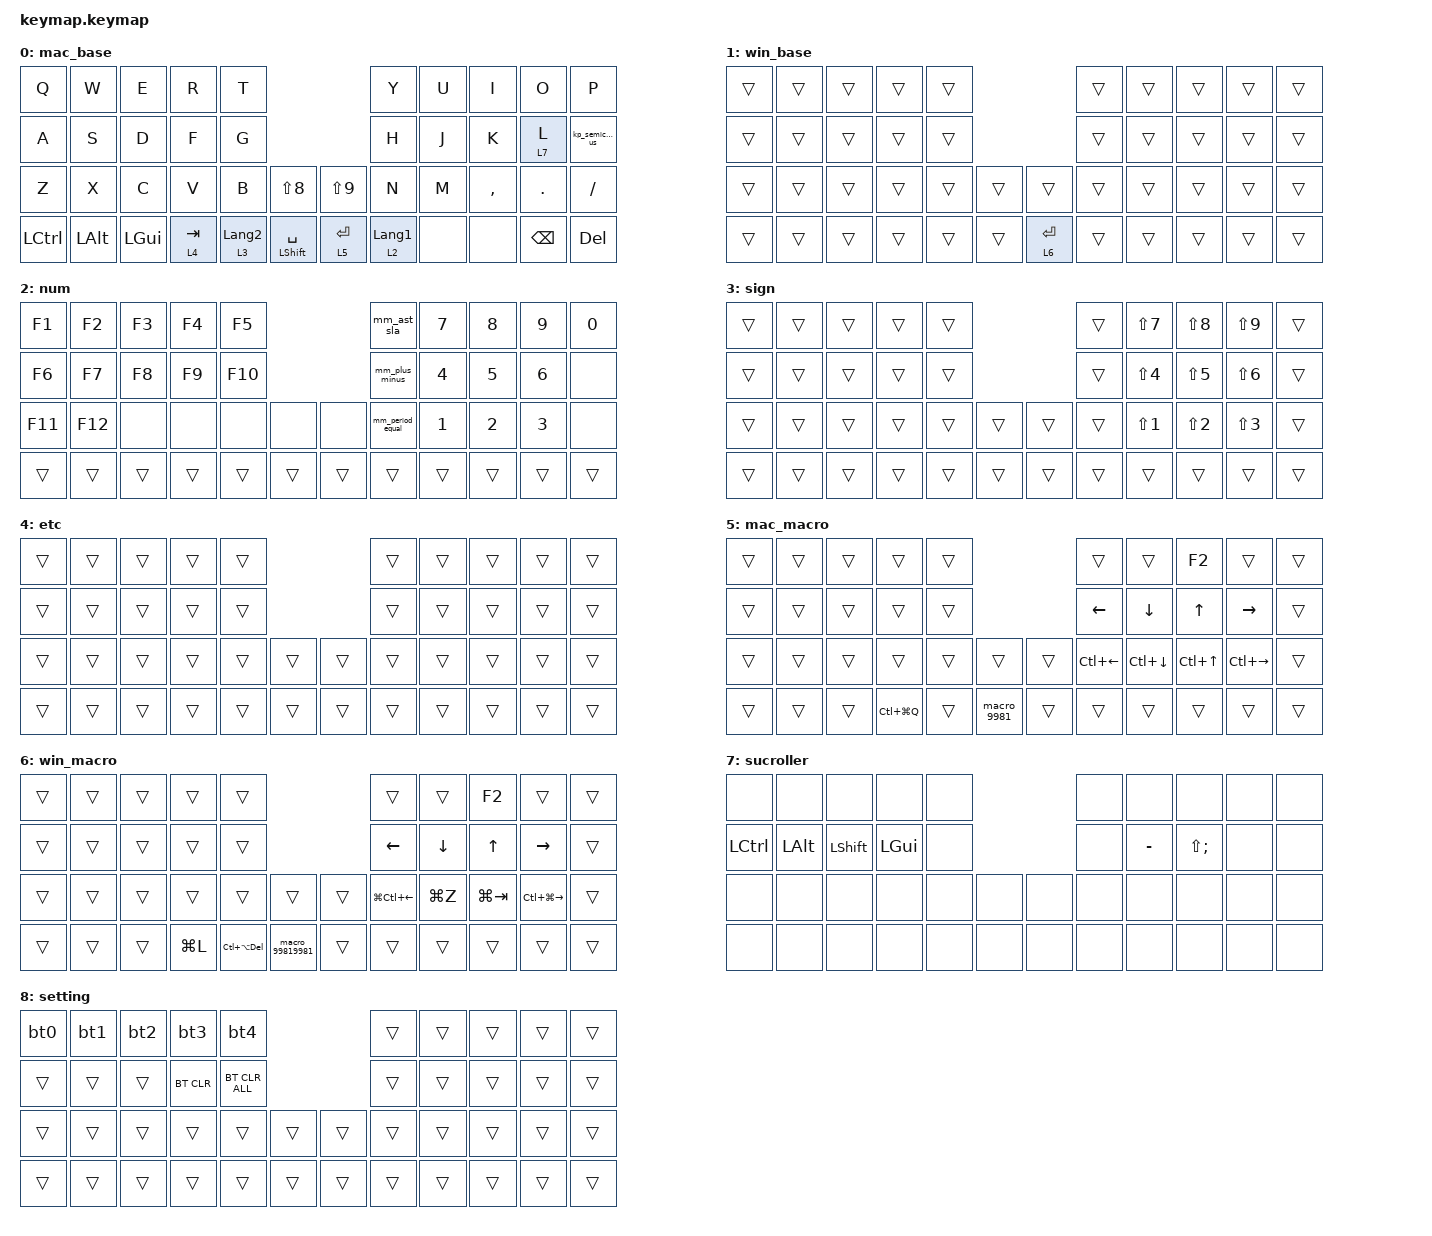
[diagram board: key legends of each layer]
#include <behaviors.dtsi>
#include <dt-bindings/zmk/bt.h>
#include <dt-bindings/zmk/keys.h>
#include <dt-bindings/zmk/pointing.h>

/ {
    combos {
        compatible = "zmk,combos";

        c_lclk {
            bindings = <&mkp LCLK>;
            key-positions = <16 17>;
            layers = <0 1>;
        };

        c_rclk {
            bindings = <&mkp RCLK>;
            key-positions = <18 17>;
            layers = <0 1>;
        };

        c_mclk {
            bindings = <&mkp MCLK>;
            key-positions = <16 17 18>;
            layers = <0 1>;
        };

        c_lbrkt_jis {
            bindings = <&kp RIGHT_BRACKET>;
            key-positions = <24 25>;
            layers = <0 1>;
        };

        c_rbrkt_jis {
            bindings = <&kp BACKSLASH>;
            key-positions = <26 27>;
            layers = <0 1>;
        };

        c_minus_jis {
            bindings = <&kp MINUS>;
            key-positions = <6 7>;
            layers = <0 1>;
        };

        c_hat_jis {
            bindings = <&kp EQUAL>;
            key-positions = <8 7>;
            layers = <0 1>;
        };

        c_yen_jis {
            bindings = <&kp INTERNATIONAL_3>;
            key-positions = <8 9>;
            layers = <0 1>;
        };

        c_atmk_jis {
            bindings = <&kp LEFT_BRACKET>;
            key-positions = <18 19>;
            layers = <0 1>;
        };

        c_Ro_jis {
            bindings = <&kp INT_RO>;
            key-positions = <31 30>;
            layers = <0 1>;
        };

        c_esc {
            bindings = <&kp ESCAPE>;
            key-positions = <0 1>;
            layers = <0 1>;
        };

        c_tab {
            bindings = <&kp TAB>;
            key-positions = <10 11>;
            layers = <0 1>;
        };
    };

    macros {
        macro_9981: macro_9981 {
            compatible = "zmk,behavior-macro";
            #binding-cells = <0>;
            bindings = <&kp N9 &kp N9 &kp N8 &kp N1 &kp ENTER>;
            label = "MACRO_9981";
        };

        macro_99819981: macro_99819981 {
            compatible = "zmk,behavior-macro";
            #binding-cells = <0>;
            bindings = <&kp N9 &kp N9 &kp N8 &kp N1 &kp N9 &kp N9 &kp N8 &kp N1>;
            label = "MACRO_99819981";
        };

        bt0: bt0 {
            compatible = "zmk,behavior-macro";
            #binding-cells = <0>;
            bindings = <&bt BT_SEL 0 &to 0>;
            label = "BT0";
        };

        bt1: bt1 {
            compatible = "zmk,behavior-macro";
            #binding-cells = <0>;
            bindings = <&bt BT_SEL 1 &to 1>;
            label = "BT1";
        };

        bt2: bt2 {
            compatible = "zmk,behavior-macro";
            #binding-cells = <0>;
            bindings = <&bt BT_SEL 2 &to 1>;
            label = "BT2";
        };

        bt3: bt3 {
            compatible = "zmk,behavior-macro";
            #binding-cells = <0>;
            bindings = <&bt BT_SEL 3 &to 1>;
            label = "BT3";
        };

        bt4: bt4 {
            compatible = "zmk,behavior-macro";
            #binding-cells = <0>;
            bindings = <&bt BT_SEL 4 &to 1>;
            label = "BT4";
        };
    };

    behaviors {
        kp_semicolon_us: kp_semicolon_us {
            compatible = "zmk,behavior-mod-morph";
            label = "KP_SEMICOLON_US";
            bindings = <&kp SEMICOLON>, <&kp SQT>;

            #binding-cells = <0>;
            mods = <(MOD_LSFT|MOD_RSFT)>;
        };

        mm_plus_minus: mm_plus_minus {
            compatible = "zmk,behavior-mod-morph";
            label = "MM_PLUS_MINUS";
            bindings = <&kp LS(SEMICOLON)>, <&kp MINUS>;

            #binding-cells = <0>;
            mods = <(MOD_LSFT|MOD_RSFT)>;
        };

        mm_ast_sla: mm_ast_sla {
            compatible = "zmk,behavior-mod-morph";
            label = "MM_AST_SLA";
            bindings = <&kp LS(SQT)>, <&kp SLASH>;

            #binding-cells = <0>;
            mods = <(MOD_LSFT|MOD_RSFT)>;
        };

        mm_period_equal: mm_period_equal {
            compatible = "zmk,behavior-mod-morph";
            label = "MM_PERIOD_EQUAL";
            bindings = <&kp PERIOD>, <&kp LS(MINUS)>;

            #binding-cells = <0>;
            mods = <(MOD_LSFT|MOD_RSFT)>;
        };
    };

    keymap {
        compatible = "zmk,keymap";

        mac_base {
            bindings = <
&kp Q             &kp W         &kp E         &kp R      &kp T                                                    &kp Y             &kp U  &kp I      &kp O          &kp P
&kp A             &kp S         &kp D         &kp F      &kp G                                                    &kp H             &kp J  &kp K      &lt 7 L        &kp_semicolon_us
&kp Z             &kp X         &kp C         &kp V      &kp B             &kp LS(N8)                &kp LS(N9)   &kp N             &kp M  &kp COMMA  &kp DOT        &kp FSLH
&kp LEFT_CONTROL  &kp LEFT_ALT  &kp LEFT_GUI  &lt 4 TAB  &lt 3 LANGUAGE_2  &mt LEFT_SHIFT SPACE      &lt 5 ENTER  &lt 2 LANGUAGE_1  &none  &none      &kp BACKSPACE  &kp DELETE
            >;
        };

        win_base {
            bindings = <
&trans  &trans  &trans  &trans  &trans                           &trans  &trans  &trans  &trans  &trans
&trans  &trans  &trans  &trans  &trans                           &trans  &trans  &trans  &trans  &trans
&trans  &trans  &trans  &trans  &trans  &trans      &trans       &trans  &trans  &trans  &trans  &trans
&trans  &trans  &trans  &trans  &trans  &trans      &lt 6 ENTER  &trans  &trans  &trans  &trans  &trans
            >;
        };

        num {
            bindings = <
&kp F1   &kp F2   &kp F3  &kp F4  &kp F5                       &mm_ast_sla       &kp N7        &kp N8        &kp N9        &kp N0
&kp F6   &kp F7   &kp F8  &kp F9  &kp F10                      &mm_plus_minus    &kp NUMBER_4  &kp N5        &kp NUMBER_6  &none
&kp F11  &kp F12  &none   &none   &none    &none       &none   &mm_period_equal  &kp NUMBER_1  &kp NUMBER_2  &kp NUMBER_3  &none
&trans   &trans   &trans  &trans  &trans   &trans      &trans  &trans            &trans        &trans        &trans        &trans
            >;
        };

        sign {
            bindings = <
&trans  &trans  &trans  &trans  &trans                      &trans  &kp LS(N7)        &kp LS(N8)        &kp LS(N9)        &trans
&trans  &trans  &trans  &trans  &trans                      &trans  &kp LS(N4)        &kp LS(N5)        &kp LS(NUMBER_6)  &trans
&trans  &trans  &trans  &trans  &trans  &trans      &trans  &trans  &kp LS(NUMBER_1)  &kp LS(NUMBER_2)  &kp LS(N3)        &trans
&trans  &trans  &trans  &trans  &trans  &trans      &trans  &trans  &trans            &trans            &trans            &trans
            >;
        };

        etc {
            bindings = <
&trans  &trans  &trans  &trans  &trans                      &trans  &trans  &trans  &trans  &trans
&trans  &trans  &trans  &trans  &trans                      &trans  &trans  &trans  &trans  &trans
&trans  &trans  &trans  &trans  &trans  &trans      &trans  &trans  &trans  &trans  &trans  &trans
&trans  &trans  &trans  &trans  &trans  &trans      &trans  &trans  &trans  &trans  &trans  &trans
            >;
        };

        mac_macro {
            bindings = <
&trans  &trans  &trans  &trans         &trans                           &trans          &trans              &kp F2            &trans         &trans
&trans  &trans  &trans  &trans         &trans                           &kp LEFT_ARROW  &kp DOWN            &kp UP_ARROW      &kp RIGHT      &trans
&trans  &trans  &trans  &trans         &trans  &trans           &trans  &kp LC(LEFT)    &kp LC(DOWN_ARROW)  &kp LC(UP_ARROW)  &kp LC(RIGHT)  &trans
&trans  &trans  &trans  &kp LC(LG(Q))  &trans  &macro_9981      &trans  &trans          &trans              &trans            &trans         &trans
            >;
        };

        win_macro {
            bindings = <
&trans  &trans  &trans  &trans     &trans                                           &trans            &trans     &kp F2        &trans             &trans
&trans  &trans  &trans  &trans     &trans                                           &kp LEFT          &kp DOWN   &kp UP_ARROW  &kp RIGHT          &trans
&trans  &trans  &trans  &trans     &trans              &trans               &trans  &kp LG(LC(LEFT))  &kp LG(Z)  &kp LG(TAB)   &kp LC(LG(RIGHT))  &trans
&trans  &trans  &trans  &kp LG(L)  &kp LC(LA(DELETE))  &macro_99819981      &trans  &trans            &trans     &trans        &trans             &trans
            >;
        };

        sucroller {
            bindings = <
&none      &none         &none           &none         &none                    &none  &none      &none              &none  &none
&kp LCTRL  &kp LEFT_ALT  &kp LEFT_SHIFT  &kp LEFT_GUI  &none                    &none  &kp MINUS  &kp LS(SEMICOLON)  &none  &none
&none      &none         &none           &none         &none  &none      &none  &none  &none      &none              &none  &none
&none      &none         &none           &none         &none  &none      &none  &none  &none      &none              &none  &none
            >;
        };

        setting {
            bindings = <
&bt0    &bt1    &bt2    &bt3        &bt4                                &trans  &trans  &trans  &trans  &trans
&trans  &trans  &trans  &bt BT_CLR  &bt BT_CLR_ALL                      &trans  &trans  &trans  &trans  &trans
&trans  &trans  &trans  &trans      &trans          &trans      &trans  &trans  &trans  &trans  &trans  &trans
&trans  &trans  &trans  &trans      &trans          &trans      &trans  &trans  &trans  &trans  &trans  &trans
            >;
        };
    };

    conditional_layers {
        compatible = "zmk,conditional-layers";

        setting {
            if-layers = <2 3>;
            then-layer = <8>;
        };
    };
};
